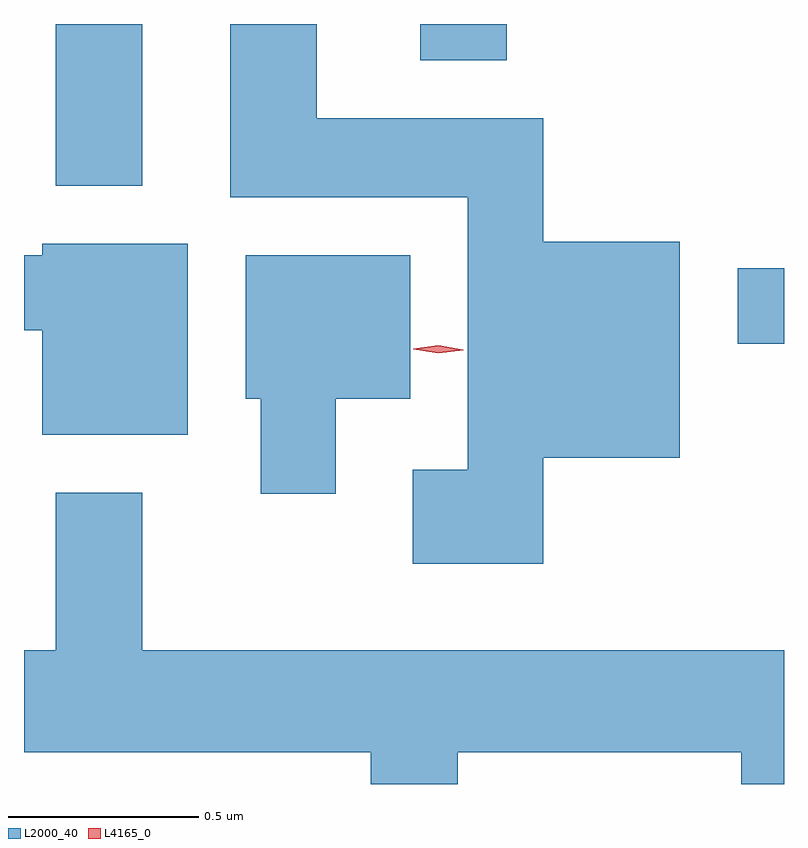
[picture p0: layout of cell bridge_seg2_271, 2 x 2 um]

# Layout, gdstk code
import gdstk
lib = gdstk.Library(unit=1e-6, precision=1e-09)
def R(c, l, rs):  # rectangles x0, y0, x1, y1
    for r in rs: c.add(gdstk.rectangle(r[:2], r[2:], *l))
def P(c, l, *ps):  # polygons
    for p in ps: c.add(gdstk.Polygon(p, *l))
L2000_40 = (2000, 40)
L4165_0 = (4165, 0)

bridge_seg2_271 = lib.new_cell('bridge_seg2_271')
R(bridge_seg2_271, L2000_40, [(469.456,1087.131,469.578,1087.329), (467.661,1087.546,467.889,1087.972), (468.621,1087.876,468.849,1087.972)])
P(bridge_seg2_271, L2000_40, [(468.944,1086.831),(469.304,1086.831),(469.304,1087.399),(468.944,1087.399),(468.944,1087.724),(468.349,1087.724),(468.349,1087.972),(468.121,1087.972),(468.121,1087.516),(468.746,1087.516),(468.746,1086.799),(468.601,1086.799),(468.601,1086.551),(468.944,1086.551)],
  [(468.009,1087.394),(467.626,1087.394),(467.626,1087.364),(467.578,1087.364),(467.578,1087.166),(467.626,1087.166),(467.626,1086.891),(468.009,1086.891)],
  [(468.399,1086.986),(468.594,1086.986),(468.594,1087.364),(468.161,1087.364),(468.161,1086.986),(468.201,1086.986),(468.201,1086.736),(468.399,1086.736)],
  [(468.719,1086.056),(469.466,1086.056),(469.466,1085.972),(469.578,1085.972),(469.578,1086.324),(467.889,1086.324),(467.889,1086.739),(467.661,1086.739),(467.661,1086.324),(467.578,1086.324),(467.578,1086.056),(468.491,1086.056),(468.491,1085.972),(468.719,1085.972)])
P(bridge_seg2_271, L4165_0, [(468.668,1087.106),(468.602,1087.116),(468.602,1087.117),(468.602,1087.118),(468.668,1087.126),(468.734,1087.115),(468.734,1087.115),(468.734,1087.114)])

lib.write_gds('bridge_seg2_271.gds')
